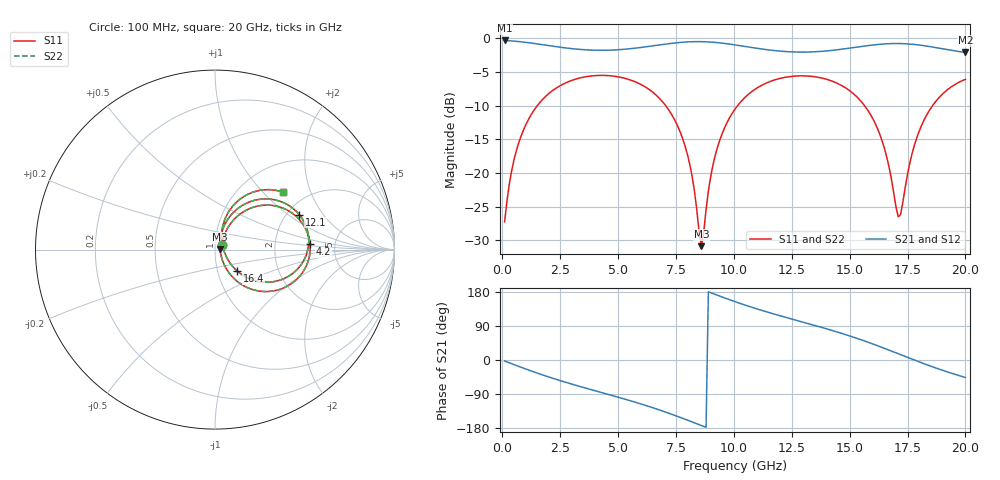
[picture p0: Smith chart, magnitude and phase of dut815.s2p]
! Touchstone file exported from HFSS 2026.1.0
!  File:  C:/ffzhzh/LocalFiles/Ansys_Project_Files/temp_train_TSV_RDL_815_1783264683_5512.aedt
!  Generated:  11:30:27 PM Jul  5, 2026
!  Design:  TSV_RDL
!  Project:  temp_train_TSV_RDL_815_1783264683_5512
! Variables:
!  h_bsmrdl = 3.99um
!  h_ox = 20um
!  h_rdl = 5um
!  h_sub = 67.55um
!  h_tmrdl = 2.93um
!  h_tsv = 67.55um
!  h_via = 3um
!  l_bsmrdl = 872.23um
!  l_sub = 6875.91um
!  l_tmrdl = 932.24um
!  m_sub = 200um
!  pitch = 47.47um
!  r_tsv = 9.62um
!  s_tmrdl = 10um
!  w_bsmrdl = 26.26um
!  w_sub = 500um
!  w_tmrdl = 17.16um
!  x_tsv_center1 = 940.82um
!  x_tsv_center2 = 1839.31um
!  x_tsv_center3 = 2788.71um
!  x_tsv_center4 = 3687.2um
!  x_tsv_center5 = 4636.6um
!  x_tsv_center6 = 5535.09um
# GHz S MA R 50.000000
! Terminal data exported
! Port[1] = TM_RDL1_1_T1
! Port[2] = TM_RDL5_1_T1
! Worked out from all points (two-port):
!   200 points, 100 MHz to 20 GHz, reference 50 ohm
!   highest |S21| = -0.31 dB at 100 MHz (marker M1); lowest = -2.1 dB at 20 GHz (marker M2)
!   |S21| within 3 dB of the highest: start of sweep to end of sweep
!   lowest |S11| = -30.9 dB at 8.6 GHz (marker M3), VSWR 1.06, Z = 52.9 + j0.276 ohm
!   |S11| at or under -10 dB: start of sweep to 1.515 GHz; 7.054 GHz to 10.17 GHz (3.111 GHz wide, 36.1 % of centre); 15.64 GHz to 18.58 GHz (2.942 GHz wide, 17.2 % of centre)
!   |S22| runs from -30.9 to -5.5 dB; largest |S21 - S12| = 1.6e-14
!   S11 on the Smith chart (normalised r, x): 100 MHz: 1.07, +0.05; 4.2 GHz: 3.23, +0.27; 12.1 GHz: 2.32, +1.22; 16.4 GHz: 1.24, -0.31; 20 GHz: 1.55, +1.31
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0.1  0.04325 33.1  0.9645 -2.5  0.9645 -2.5  0.04325 33.1
! Gamma 0 0 0 0
! Port Impedance 50 0 50 0
0.5  0.1238 59.4  0.9537 -12.1  0.9537 -12.1  0.1238 59.4
1.1  0.2438 54.7  0.9298 -25.7  0.9298 -25.7  0.2438 54.7
2.1  0.4004 38.0  0.8783 -46.7  0.8783 -46.7  0.4004 38.0
3.5  0.5143 14.5  0.8238 -72.4  0.8238 -72.4  0.5143 14.5
4.2  0.5303 3.2  0.8152 -84.4  0.8152 -84.4  0.5303 3.2
6.8  0.356 -40.9  0.8942 -132.1  0.8942 -132.1  0.3561 -40.9
7.9  0.1569 -58.7  0.9385 -156.5  0.9385 -156.5  0.1569 -58.7
8.2  0.09379 -58.2  0.944 -163.5  0.944 -163.5  0.09377 -58.3
8.6  0.02852 5.2  0.945 -173.0  0.945 -173.0  0.02838 5.2
9.2  0.1357 69.1  0.9327 172.9  0.9327 172.9  0.1356 69.2
10.1  0.3058 56.5  0.8913 152.9  0.8913 152.9  0.3058 56.6
12.1  0.5085 22.5  0.8009 114.9  0.8009 114.9  0.5085 22.5
13.4  0.5207 2.1  0.7933 92.8  0.7933 92.8  0.5207 2.1
15.2  0.3829 -27.4  0.8552 59.6  0.8552 59.6  0.3828 -27.4
16.4  0.1736 -43.9  0.9064 33.2  0.9064 33.2  0.1734 -44.1
16.7  0.1111 -41.4  0.913 26.1  0.913 26.1  0.1107 -41.8
17.1  0.04712 4.8  0.9154 16.5  0.9154 16.5  0.04617 4.6
17.2  0.04892 30.8  0.9147 14.1  0.9147 14.1  0.04796 31.1
17.7  0.1396 71.5  0.9041 2.1  0.9041 2.1  0.1392 72.0
18.2  0.244 68.9  0.8829 -9.5  0.8829 -9.5  0.2438 69.2
20  0.4958 40.0  0.7851 -46.2  0.7851 -46.2  0.4956 40.2
